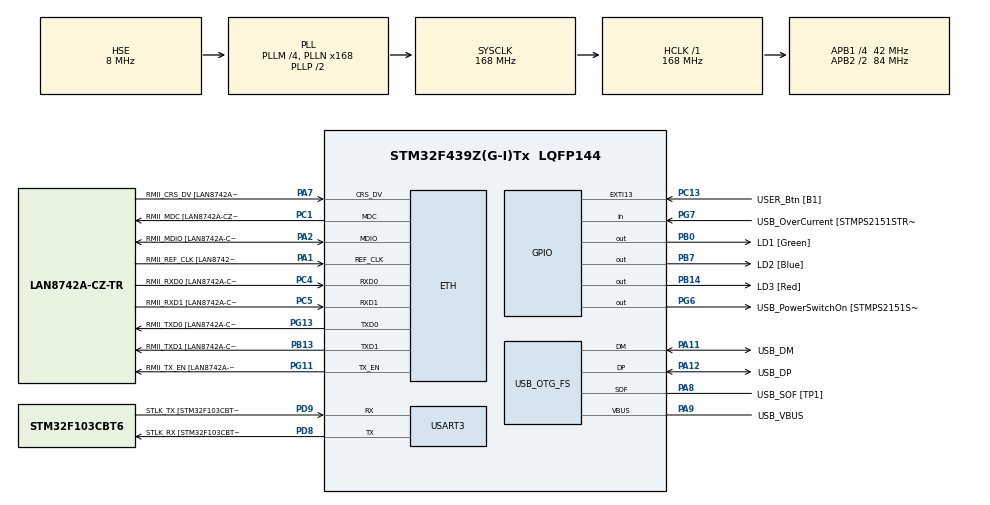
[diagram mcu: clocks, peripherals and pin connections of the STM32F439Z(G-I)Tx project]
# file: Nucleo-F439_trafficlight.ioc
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ETH.MediaInterface=HAL_ETH_RMII_MODE
ETH.PHY_Name=LAN8742A_PHY_ADDRESS
ETH.PHY_Value=0
ETH.PhyAddress=0
Mcu.Family=STM32F4
Mcu.Name=STM32F439Z(G-I)Tx
Mcu.Package=LQFP144
NVIC.PriorityGroup=NVIC_PRIORITYGROUP_4
NVIC.TIM3_IRQn=true\:0\:0\:false\:false\:true\:true\:true\:true
PA1.GPIO_Label=RMII_REF_CLK [LAN8742A-CZ-TR_REFCLK0]
PA1.Mode=RMII
PA1.Signal=ETH_REF_CLK
PA10.GPIO_Label=USB_ID
PA10.Signal=USB_OTG_FS_ID
PA11.GPIO_Label=USB_DM
PA11.Mode=Device_Only
PA11.Signal=USB_OTG_FS_DM
PA12.GPIO_Label=USB_DP
PA12.Mode=Device_Only
PA12.Signal=USB_OTG_FS_DP
PA13.GPIO_Label=TMS
PA13.Mode=Serial_Wire
PA13.Signal=SYS_JTMS-SWDIO
PA14.GPIO_Label=TCK
PA14.Mode=Serial_Wire
PA14.Signal=SYS_JTCK-SWCLK
PA2.GPIO_Label=RMII_MDIO [LAN8742A-CZ-TR_MDIO]
PA2.Mode=RMII
PA2.Signal=ETH_MDIO
PA7.GPIO_Label=RMII_CRS_DV [LAN8742A-CZ-TR_CRS_DV]
PA7.Mode=RMII
PA7.Signal=ETH_CRS_DV
PA8.GPIO_Label=USB_SOF [TP1]
PA8.Mode=Activate_SOF_FS
PA8.Signal=USB_OTG_FS_SOF
PA9.GPIO_Label=USB_VBUS
PA9.Mode=Activate_VBUS
PA9.Signal=USB_OTG_FS_VBUS
PB0.GPIO_Label=LD1 [Green]
PB0.Signal=GPIO_Output
PB13.GPIO_Label=RMII_TXD1 [LAN8742A-CZ-TR_TXD1]
PB13.Mode=RMII
PB13.Signal=ETH_TXD1
PB14.GPIO_Label=LD3 [Red]
PB14.Signal=GPIO_Output
PB7.GPIO_Label=LD2 [Blue]
PB7.Signal=GPIO_Output
PC1.GPIO_Label=RMII_MDC [LAN8742A-CZ-TR_MDC]
PC1.Mode=RMII
PC1.Signal=ETH_MDC
PC13.GPIO_Label=USER_Btn [B1]
PC13.Signal=GPXTI13
PC14/OSC32_IN.Mode=LSE-External-Oscillator
PC14/OSC32_IN.Signal=RCC_OSC32_IN
PC15/OSC32_OUT.Mode=LSE-External-Oscillator
PC15/OSC32_OUT.Signal=RCC_OSC32_OUT
PC4.GPIO_Label=RMII_RXD0 [LAN8742A-CZ-TR_RXD0]
PC4.Mode=RMII
PC4.Signal=ETH_RXD0
PC5.GPIO_Label=RMII_RXD1 [LAN8742A-CZ-TR_RXD1]
PC5.Mode=RMII
PC5.Signal=ETH_RXD1
PD8.GPIO_Label=STLK_RX [STM32F103CBT6_PA3]
PD8.Mode=Asynchronous
PD8.Signal=USART3_TX
PD9.GPIO_Label=STLK_TX [STM32F103CBT6_PA2]
PD9.Mode=Asynchronous
PD9.Signal=USART3_RX
PG11.GPIO_Label=RMII_TX_EN [LAN8742A-CZ-TR_TXEN]
PG11.Mode=RMII
PG11.Signal=ETH_TX_EN
PG13.GPIO_Label=RMII_TXD0 [LAN8742A-CZ-TR_TXD0]
PG13.Mode=RMII
PG13.Signal=ETH_TXD0
PG6.GPIO_Label=USB_PowerSwitchOn [STMPS2151STR_EN]
PG6.Signal=GPIO_Output
PG7.GPIO_Label=USB_OverCurrent [STMPS2151STR_FAULT]
PG7.Signal=GPIO_Input
PH0/OSC_IN.GPIO_Label=MCO [STM32F103CBT6_PA8]
PH0/OSC_IN.Mode=HSE-External-Clock-Source
PH0/OSC_IN.Signal=RCC_OSC_IN
PH1/OSC_OUT.Mode=HSE-External-Clock-Source
PH1/OSC_OUT.Signal=RCC_OSC_OUT
ProjectManager.HeapSize=0x200
ProjectManager.StackSize=0x400
ProjectManager.TargetToolchain=STM32CubeIDE
RCC.48MHZClocksFreq_Value=48000000
RCC.AHBFreq_Value=168000000
RCC.APB1CLKDivider=RCC_HCLK_DIV4
RCC.APB1Freq_Value=42000000
RCC.APB1TimFreq_Value=84000000
RCC.APB2CLKDivider=RCC_HCLK_DIV2
RCC.APB2Freq_Value=84000000
RCC.APB2TimCLKDivider=2
RCC.APB2TimFreq_Value=168000000
RCC.CortexFreq_Value=168000000
RCC.HCLKFreq_Value=168000000
RCC.HSE_VALUE=8000000
RCC.HSI_VALUE=16000000
RCC.PLLM=4
RCC.PLLMUL=RCC_PLL_MUL9
RCC.PLLN=168
RCC.PLLQ=7
RCC.PRESCALERUSB=RCC_USBCLKSOURCE_PLL_DIV1_5
RCC.SYSCLKFreq_VALUE=168000000
RCC.SYSCLKSource=RCC_SYSCLKSOURCE_PLLCLK
RCC.SYSCLKSourceVirtual=RCC_SYSCLKSOURCE_PLLCLK
RCC.USBFreq_Value=48000000
RCC.VCOOutputFreq_Value=336000000
TIM3.Period=62499
TIM3.Prescaler=2687
USART3.VirtualMode=VM_ASYNC
USB_OTG_FS.VirtualMode=Device_Only
VP_TIM3_VS_ClockSourceINT.Mode=Internal
board=NUCLEO-F439ZI

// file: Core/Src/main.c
/* USER CODE BEGIN Header */
/**
  ******************************************************************************
  * @file           : main.c
  * @brief          : Main program body
  ******************************************************************************
  * @attention
  *
  * Copyright (c) 2025 STMicroelectronics.
  * All rights reserved.
  *
  * This software is licensed under terms that can be found in the LICENSE file
  * in the root directory of this software component.
  * If no LICENSE file comes with this software, it is provided AS-IS.
  *
  ******************************************************************************
  */
/* USER CODE END Header */
#include "main.h"
#include "string.h"

/* USER CODE BEGIN Includes */
#include <stdbool.h>
/* USER CODE END Includes */

ETH_TxPacketConfig TxConfig;
ETH_DMADescTypeDef  DMARxDscrTab[ETH_RX_DESC_CNT]; /* Ethernet Rx DMA Descriptors */
ETH_DMADescTypeDef  DMATxDscrTab[ETH_TX_DESC_CNT]; /* Ethernet Tx DMA Descriptors */

ETH_HandleTypeDef heth;

TIM_HandleTypeDef htim3;

UART_HandleTypeDef huart3;

PCD_HandleTypeDef hpcd_USB_OTG_FS;

void SystemClock_Config(void);
static void MX_GPIO_Init(void);
static void MX_ETH_Init(void);
static void MX_USART3_UART_Init(void);
static void MX_USB_OTG_FS_PCD_Init(void);
static void MX_TIM3_Init(void);

/* USER CODE BEGIN 0 */
struct trafficLight
{
	bool greenLight;
	bool yellowLight;
	bool redLight;
};

struct trafficLight light;

void lightInit(bool* green, bool* yellow, bool* red)
{
	*green = true;
	HAL_GPIO_WritePin(GPIOB, LD1_Pin, GPIO_PIN_SET);
	*yellow = false;
	*red = false;
	HAL_GPIO_WritePin(GPIOB, LD3_Pin|LD2_Pin, GPIO_PIN_RESET);
}

void transitionLight(bool* green, bool* yellow, bool* red)
{
	if ((*green && !*yellow && !*red) || (!*green && *yellow && !*red) || (!*green && !*yellow && *red))
	{
		if (*green)
		{
			*green = false;
			*yellow = true;
			*red = false;
			HAL_GPIO_WritePin(GPIOB, LD1_Pin|LD3_Pin, GPIO_PIN_RESET);
			HAL_GPIO_WritePin(GPIOB, LD2_Pin, GPIO_PIN_SET);
		}
		if (*yellow)
		{
			*green = false;
			*yellow = false;
			*red = true;
			HAL_GPIO_WritePin(GPIOB, LD1_Pin|LD2_Pin, GPIO_PIN_RESET);
			HAL_GPIO_WritePin(GPIOB, LD3_Pin, GPIO_PIN_SET);
		}
		if (*red)
		{
			*green = true;
			*yellow = false;
			*red = false;
			HAL_GPIO_WritePin(GPIOB, LD3_Pin|LD2_Pin, GPIO_PIN_RESET);
			HAL_GPIO_WritePin(GPIOB, LD1_Pin, GPIO_PIN_SET);
		}
	}
	else
	{
		lightInit(green, yellow, red);
	}

}

/* USER CODE END 0 */

int main(void)
{

  /* USER CODE BEGIN 1 */
	lightInit(&light.greenLight, &light.yellowLight, &light.redLight);

  /* USER CODE END 1 */

  /* MCU Configuration--------------------------------------------------------*/

  /* Reset of all peripherals, Initializes the Flash interface and the Systick. */
  HAL_Init();

  /* Configure the system clock */
  SystemClock_Config();

  /* Initialize all configured peripherals */
  MX_GPIO_Init();
  MX_ETH_Init();
  MX_USART3_UART_Init();
  MX_USB_OTG_FS_PCD_Init();
  MX_TIM3_Init();
  /* USER CODE BEGIN 2 */
  HAL_TIM_Base_Start_IT(&htim3);
  // LD1 - PB0	Green
  // LD2 - PB7	Blue
  // LD3 - PB14	Red
  /* USER CODE END 2 */

  /* Infinite loop */
  while (1)
  {
	// Code to test commit from STM32CUBEIDE
//	HAL_GPIO_TogglePin(GPIOB, LD1_Pin);
//	HAL_DELAY(1000);
  }
}

void SystemClock_Config(void)
{
  RCC_OscInitTypeDef RCC_OscInitStruct = {0};
  RCC_ClkInitTypeDef RCC_ClkInitStruct = {0};

  /** Configure the main internal regulator output voltage
  */
  __HAL_RCC_PWR_CLK_ENABLE();
  __HAL_PWR_VOLTAGESCALING_CONFIG(PWR_REGULATOR_VOLTAGE_SCALE1);

  /** Initializes the RCC Oscillators according to the specified parameters
  * in the RCC_OscInitTypeDef structure.
  */
  RCC_OscInitStruct.OscillatorType = RCC_OSCILLATORTYPE_HSE;
  RCC_OscInitStruct.HSEState = RCC_HSE_BYPASS;
  RCC_OscInitStruct.PLL.PLLState = RCC_PLL_ON;
  RCC_OscInitStruct.PLL.PLLSource = RCC_PLLSOURCE_HSE;
  RCC_OscInitStruct.PLL.PLLM = 4;
  RCC_OscInitStruct.PLL.PLLN = 168;
  RCC_OscInitStruct.PLL.PLLP = RCC_PLLP_DIV2;
  RCC_OscInitStruct.PLL.PLLQ = 7;
  if (HAL_RCC_OscConfig(&RCC_OscInitStruct) != HAL_OK)
  {
    Error_Handler();
  }

  /** Initializes the CPU, AHB and APB buses clocks
  */
  RCC_ClkInitStruct.ClockType = RCC_CLOCKTYPE_HCLK|RCC_CLOCKTYPE_SYSCLK
                              |RCC_CLOCKTYPE_PCLK1|RCC_CLOCKTYPE_PCLK2;
  RCC_ClkInitStruct.SYSCLKSource = RCC_SYSCLKSOURCE_PLLCLK;
  RCC_ClkInitStruct.AHBCLKDivider = RCC_SYSCLK_DIV1;
  RCC_ClkInitStruct.APB1CLKDivider = RCC_HCLK_DIV4;
  RCC_ClkInitStruct.APB2CLKDivider = RCC_HCLK_DIV2;

  if (HAL_RCC_ClockConfig(&RCC_ClkInitStruct, FLASH_LATENCY_5) != HAL_OK)
  {
    Error_Handler();
  }
}

static void MX_ETH_Init(void)
{

   static uint8_t MACAddr[6];

  heth.Instance = ETH;
  MACAddr[0] = 0x00;
  MACAddr[1] = 0x80;
  MACAddr[2] = 0xE1;
  MACAddr[3] = 0x00;
  MACAddr[4] = 0x00;
  MACAddr[5] = 0x00;
  heth.Init.MACAddr = &MACAddr[0];
  heth.Init.MediaInterface = HAL_ETH_RMII_MODE;
  heth.Init.TxDesc = DMATxDscrTab;
  heth.Init.RxDesc = DMARxDscrTab;
  heth.Init.RxBuffLen = 1524;

  if (HAL_ETH_Init(&heth) != HAL_OK)
  {
    Error_Handler();
  }

  memset(&TxConfig, 0 , sizeof(ETH_TxPacketConfig));
  TxConfig.Attributes = ETH_TX_PACKETS_FEATURES_CSUM | ETH_TX_PACKETS_FEATURES_CRCPAD;
  TxConfig.ChecksumCtrl = ETH_CHECKSUM_IPHDR_PAYLOAD_INSERT_PHDR_CALC;
  TxConfig.CRCPadCtrl = ETH_CRC_PAD_INSERT;

}

static void MX_TIM3_Init(void)
{

  TIM_ClockConfigTypeDef sClockSourceConfig = {0};
  TIM_MasterConfigTypeDef sMasterConfig = {0};

  htim3.Instance = TIM3;
  htim3.Init.Prescaler = 2687;
  htim3.Init.CounterMode = TIM_COUNTERMODE_UP;
  htim3.Init.Period = 62499;
  htim3.Init.ClockDivision = TIM_CLOCKDIVISION_DIV1;
  htim3.Init.AutoReloadPreload = TIM_AUTORELOAD_PRELOAD_DISABLE;
  if (HAL_TIM_Base_Init(&htim3) != HAL_OK)
  {
    Error_Handler();
  }
  sClockSourceConfig.ClockSource = TIM_CLOCKSOURCE_INTERNAL;
  if (HAL_TIM_ConfigClockSource(&htim3, &sClockSourceConfig) != HAL_OK)
  {
    Error_Handler();
  }
  sMasterConfig.MasterOutputTrigger = TIM_TRGO_RESET;
  sMasterConfig.MasterSlaveMode = TIM_MASTERSLAVEMODE_DISABLE;
  if (HAL_TIMEx_MasterConfigSynchronization(&htim3, &sMasterConfig) != HAL_OK)
  {
    Error_Handler();
  }

}

static void MX_USART3_UART_Init(void)
{

  huart3.Instance = USART3;
  huart3.Init.BaudRate = 115200;
  huart3.Init.WordLength = UART_WORDLENGTH_8B;
  huart3.Init.StopBits = UART_STOPBITS_1;
  huart3.Init.Parity = UART_PARITY_NONE;
  huart3.Init.Mode = UART_MODE_TX_RX;
  huart3.Init.HwFlowCtl = UART_HWCONTROL_NONE;
  huart3.Init.OverSampling = UART_OVERSAMPLING_16;
  if (HAL_UART_Init(&huart3) != HAL_OK)
  {
    Error_Handler();
  }

}

static void MX_USB_OTG_FS_PCD_Init(void)
{

  hpcd_USB_OTG_FS.Instance = USB_OTG_FS;
  hpcd_USB_OTG_FS.Init.dev_endpoints = 4;
  hpcd_USB_OTG_FS.Init.speed = PCD_SPEED_FULL;
  hpcd_USB_OTG_FS.Init.dma_enable = DISABLE;
  hpcd_USB_OTG_FS.Init.phy_itface = PCD_PHY_EMBEDDED;
  hpcd_USB_OTG_FS.Init.Sof_enable = ENABLE;
  hpcd_USB_OTG_FS.Init.low_power_enable = DISABLE;
  hpcd_USB_OTG_FS.Init.lpm_enable = DISABLE;
  hpcd_USB_OTG_FS.Init.vbus_sensing_enable = ENABLE;
  hpcd_USB_OTG_FS.Init.use_dedicated_ep1 = DISABLE;
  if (HAL_PCD_Init(&hpcd_USB_OTG_FS) != HAL_OK)
  {
    Error_Handler();
  }

}

static void MX_GPIO_Init(void)
{
  GPIO_InitTypeDef GPIO_InitStruct = {0};

  /* GPIO Ports Clock Enable */
  __HAL_RCC_GPIOC_CLK_ENABLE();
  __HAL_RCC_GPIOH_CLK_ENABLE();
  __HAL_RCC_GPIOA_CLK_ENABLE();
  __HAL_RCC_GPIOB_CLK_ENABLE();
  __HAL_RCC_GPIOD_CLK_ENABLE();
  __HAL_RCC_GPIOG_CLK_ENABLE();

  /*Configure GPIO pin Output Level */
  HAL_GPIO_WritePin(GPIOB, LD1_Pin|LD3_Pin|LD2_Pin, GPIO_PIN_RESET);

  /*Configure GPIO pin Output Level */
  HAL_GPIO_WritePin(USB_PowerSwitchOn_GPIO_Port, USB_PowerSwitchOn_Pin, GPIO_PIN_RESET);

  /*Configure GPIO pin : USER_Btn_Pin */
  GPIO_InitStruct.Pin = USER_Btn_Pin;
  GPIO_InitStruct.Mode = GPIO_MODE_IT_RISING;
  GPIO_InitStruct.Pull = GPIO_NOPULL;
  HAL_GPIO_Init(USER_Btn_GPIO_Port, &GPIO_InitStruct);

  /*Configure GPIO pins : LD1_Pin LD3_Pin LD2_Pin */
  GPIO_InitStruct.Pin = LD1_Pin|LD3_Pin|LD2_Pin;
  GPIO_InitStruct.Mode = GPIO_MODE_OUTPUT_PP;
  GPIO_InitStruct.Pull = GPIO_NOPULL;
  GPIO_InitStruct.Speed = GPIO_SPEED_FREQ_LOW;
  HAL_GPIO_Init(GPIOB, &GPIO_InitStruct);

  /*Configure GPIO pin : USB_PowerSwitchOn_Pin */
  GPIO_InitStruct.Pin = USB_PowerSwitchOn_Pin;
  GPIO_InitStruct.Mode = GPIO_MODE_OUTPUT_PP;
  GPIO_InitStruct.Pull = GPIO_NOPULL;
  GPIO_InitStruct.Speed = GPIO_SPEED_FREQ_LOW;
  HAL_GPIO_Init(USB_PowerSwitchOn_GPIO_Port, &GPIO_InitStruct);

  /*Configure GPIO pin : USB_OverCurrent_Pin */
  GPIO_InitStruct.Pin = USB_OverCurrent_Pin;
  GPIO_InitStruct.Mode = GPIO_MODE_INPUT;
  GPIO_InitStruct.Pull = GPIO_NOPULL;
  HAL_GPIO_Init(USB_OverCurrent_GPIO_Port, &GPIO_InitStruct);

}

/* USER CODE BEGIN 4 */
void HAL_TIM_PeriodElapsedCallback(TIM_HandleTypeDef *htim)	{
	if (htim -> Instance == TIM3)
	{
		transitionLight(&light.greenLight, &light.yellowLight, &light.redLight);
	}
}
/* USER CODE END 4 */

void Error_Handler(void)
{
  __disable_irq();
  while (1)
  {
  }
}
